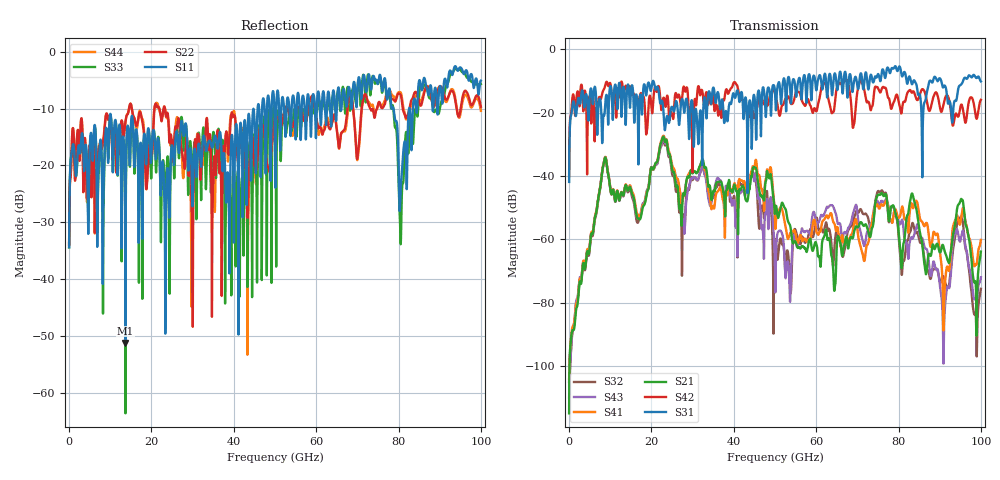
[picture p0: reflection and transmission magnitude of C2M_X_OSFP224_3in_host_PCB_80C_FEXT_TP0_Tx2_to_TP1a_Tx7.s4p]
# GHz S RI R 45
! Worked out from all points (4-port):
!   4000 points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, 25 MHz to 100 GHz, reference 45 ohm
!   strongest paths, dB at 25 MHz, 25.02 GHz, 50.02 GHz, 75.03 GHz, 100 GHz:
!     S31: -41.8, -18.2, -13.8, -7.8, -10.2
!     S42: -40.1, -20.8, -13.9, -12.3, -15.9
!     S21: -114.8, -38.0, -51.9, -45.9, -63.8
!     S41: -103.9, -36.5, -54.3, -49.6, -60.1
!     S43: -109.9, -37.8, -70.1, -48.2, -71.9
!     S32: -104.9, -39.3, -61.1, -44.7, -75.6
!   lowest |S11| = -51.2 dB at 13.68 GHz (marker M1), VSWR 1.01, Z = 45 + j0.246 ohm
!   |S11| at or under -10 dB: start of sweep to 45.8 GHz; 78.78 GHz to 82.57 GHz (3.788 GHz wide, 4.7 % of centre); 82.7 GHz to 83.49 GHz (790.2 MHz wide, 0.951 % of centre)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
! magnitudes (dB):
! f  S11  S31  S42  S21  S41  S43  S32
! 25 MHz  -34.4  -41.8  -40.1  -114.8  -103.9  -109.9  -104.9
! 8.575 GHz  -19.0  -20.8  -12.4  -35.1  -34.9  -34.9  -35.2
! 13.68 GHz  -51.2  -20.6  -11.6  -43.0  -42.9  -43.2  -43.3
! 44.6 GHz  -10.9  -18.2  -19.5  -37.8  -36.9  -38.5  -38.7
! 53.7 GHz  -13.4  -12.7  -16.6  -55.7  -57.9  -79.2  -76.1
! 75.72 GHz  -4.8  -9.3  -13.3  -45.6  -49.1  -48.0  -44.9
! 100 GHz  -5.1  -10.2  -15.9  -63.8  -60.1  -71.9  -75.6
